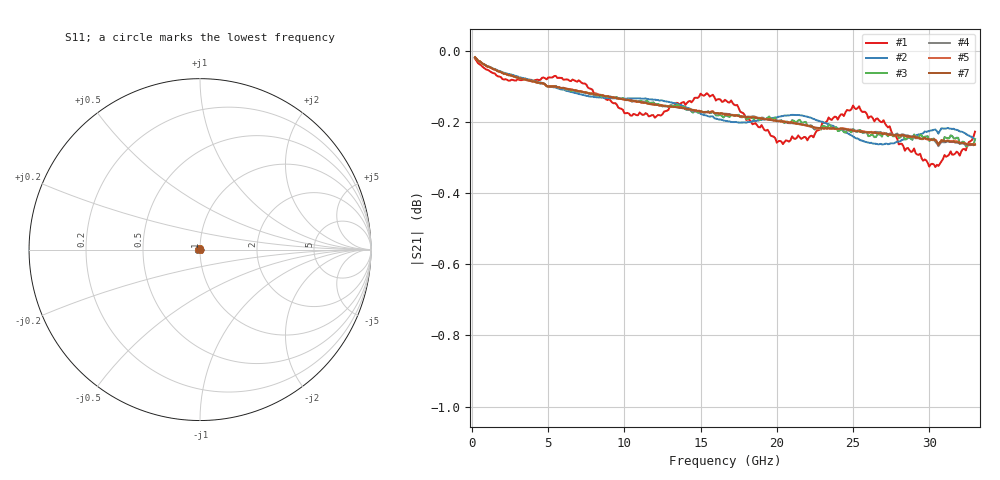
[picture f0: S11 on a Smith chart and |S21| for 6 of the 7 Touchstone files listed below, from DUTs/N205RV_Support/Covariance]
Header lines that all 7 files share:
# GHZ S RI R 50
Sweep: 200 MHz to 33 GHz
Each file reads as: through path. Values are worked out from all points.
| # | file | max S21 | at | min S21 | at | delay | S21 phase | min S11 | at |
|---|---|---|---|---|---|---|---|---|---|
| 1 | N205RV_3.s2p | -0.02 dB | 200 MHz | -0.3 dB | 30.4 GHz | 248 ps | -42 deg at 16.6 GHz | -76.6 dB | 400 MHz |
| 2 | N205RV_4.s2p | -0.02 dB | 200 MHz | -0.3 dB | 26.9 GHz | 248 ps | -42 deg at 16.6 GHz | -70.6 dB | 400 MHz |
| 3 | N205RV_9.s2p | -0.02 dB | 200 MHz | -0.3 dB | 32.5 GHz | 248 ps | -42 deg at 16.6 GHz | -71.0 dB | 400 MHz |
| 4 | N205RV_11.s2p | -0.02 dB | 200 MHz | -0.3 dB | 30.6 GHz | 248 ps | -42 deg at 16.6 GHz | -71.1 dB | 400 MHz |
| 5 | N205RV_12.s2p | -0.02 dB | 200 MHz | -0.3 dB | 32.9 GHz | 248 ps | -42 deg at 16.6 GHz | -71.1 dB | 400 MHz |
| 6 | N205RV_13.s2p | -0.02 dB | 200 MHz | -0.3 dB | 30.6 GHz | 248 ps | -42 deg at 16.6 GHz | -71.1 dB | 400 MHz |
| 7 | N205RV_15.s2p | -0.02 dB | 200 MHz | -0.3 dB | 32.9 GHz | 248 ps | -42 deg at 16.6 GHz | -71.3 dB | 400 MHz |
